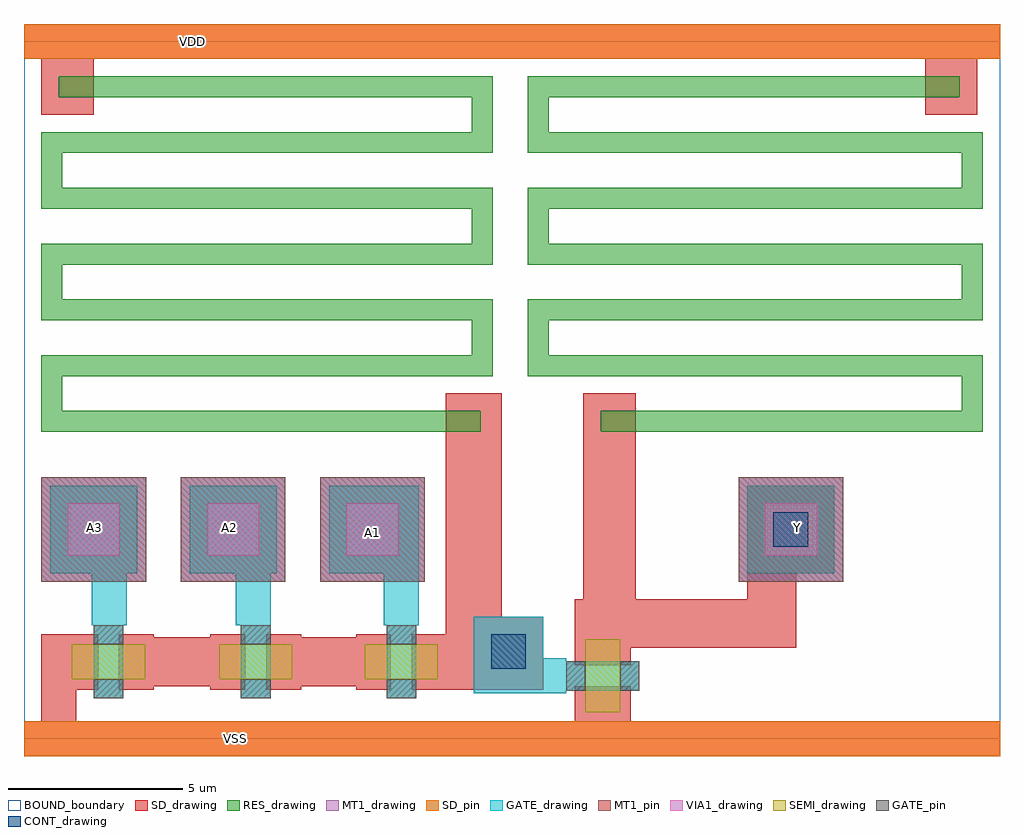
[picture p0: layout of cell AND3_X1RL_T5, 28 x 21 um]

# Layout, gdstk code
from math import pi, radians
import gdstk
lib = gdstk.Library(unit=1e-6, precision=1e-09)
def R(c, l, rs):  # rectangles x0, y0, x1, y1
    for r in rs: c.add(gdstk.rectangle(r[:2], r[2:], *l))
def A(c, l, x, y, w, h, nx, ny, dx, dy):  # array of equal rectangles
    R(c, l, [(x+i*dx, y+j*dy, x+i*dx+w, y+j*dy+h) for i in range(nx) for j in range(ny)])
def P(c, l, *ps):  # polygons
    for p in ps: c.add(gdstk.Polygon(p, *l))
RES_drawing = (1, 0)
SEMI_drawing = (3, 0)
SD_drawing = (10, 0)
SD_pin = (10, 3)
GATE_drawing = (11, 0)
GATE_pin = (11, 3)
MT1_drawing = (20, 0)
MT1_pin = (20, 3)
CONT_drawing = (30, 0)
VIA1_drawing = (41, 0)
BOUND_boundary = (150, 5)

nch_cdns_772544974730 = lib.new_cell('nch_CDNS_772544974730')
R(nch_cdns_772544974730, SEMI_drawing, [(-1.05,-0.5,1.05,0.5)])
R(nch_cdns_772544974730, SD_drawing, [(-1.3,-0.8,-0.3,0.8), (0.3,-0.8,1.3,0.8)])
R(nch_cdns_772544974730, GATE_drawing, [(-0.425,-1.05,0.425,1.05)])
R(nch_cdns_772544974730, GATE_pin, [(-0.425,-1.05,0.425,-0.5), (-0.425,0.5,0.425,1.05)])

gate_mt1_cdns_7725449747 = lib.new_cell('GATE_MT1_CDNS_772544974730')
R(gate_mt1_cdns_7725449747, GATE_drawing, [(-1.25,-1.25,1.25,1.25)])
R(gate_mt1_cdns_7725449747, MT1_drawing, [(-1.25,-1.25,1.25,1.25)])
R(gate_mt1_cdns_7725449747, VIA1_drawing, [(-0.75,-0.75,0.75,0.75)])

sd_gate_cdns_77254497473 = lib.new_cell('SD_GATE_CDNS_772544974731')
R(sd_gate_cdns_77254497473, SD_drawing, [(-1,-1,1,1)])
R(sd_gate_cdns_77254497473, GATE_drawing, [(-1,-1,1,1)])
R(sd_gate_cdns_77254497473, CONT_drawing, [(-0.5,-0.5,0.5,0.5)])

c_sd_gate_cdns_77254497473 = lib.new_cell('SD_GATE_CDNS_772544974732')
R(c_sd_gate_cdns_77254497473, SD_drawing, [(-1.25,-1.25,1.25,1.25)])
R(c_sd_gate_cdns_77254497473, GATE_drawing, [(-1.25,-1.25,1.25,1.25)])
R(c_sd_gate_cdns_77254497473, CONT_drawing, [(-0.5,-0.5,0.5,0.5)])

and3_x1rl_t5 = lib.new_cell('AND3_X1RL_T5')
R(and3_x1rl_t5, SD_drawing, [(0,-0.5,28,0.5), (0.5,0.5,1.5,3), (12.1,8.3,13.7,9.9), (16.05,8.3,17.55,9.9), (0.5,17.9,2,19.5), (25.85,17.9,27.35,19.5), (0,19.5,28,20.5)])
R(and3_x1rl_t5, SD_pin, [(0,-0.5,28,0.5), (0,19.5,28,20.5)])
R(and3_x1rl_t5, GATE_drawing, [(6.075,3.25,7.075,3.35)])
P(and3_x1rl_t5, GATE_drawing, [(15.45,2.3),(15.45,1.3),(15.55,1.3),(15.55,1.425),(15.6,1.425),(15.6,2.175),(15.55,2.175),(15.55,2.3)],
  [(11.325,3.35),(10.325,3.35),(10.325,3.25),(10.45,3.25),(10.45,3.2),(11.2,3.2),(11.2,3.25),(11.325,3.25)],
  [(2.95,3.35),(1.95,3.35),(1.95,3.25),(2.05,3.25),(2.05,3.2),(2.8,3.2),(2.8,3.25),(2.95,3.25)])
A(and3_x1rl_t5, MT1_drawing, 0.5, 4.5, 3, 3, 3, 1, 4, 0)
R(and3_x1rl_t5, MT1_drawing, [(20.5,4.5,23.5,7.5)])
A(and3_x1rl_t5, MT1_pin, 0.5, 4.5, 3, 3, 3, 1, 4, 0)
R(and3_x1rl_t5, MT1_pin, [(20.5,4.5,23.5,7.5)])
R(and3_x1rl_t5, BOUND_boundary, [(0,0,28,20)])
and3_x1rl_t5.add(gdstk.FlexPath([(10.825,3.35),(10.825,7.25)], 1, ends="flush", simple_path=True, layer=11, datatype=0))  # GATE_drawing
and3_x1rl_t5.add(gdstk.FlexPath([(15.45,1.8),(12.9,1.8)], 1, ends="flush", simple_path=True, layer=11, datatype=0))  # GATE_drawing
and3_x1rl_t5.add(gdstk.FlexPath([(6.575,3.35),(6.575,5.325)], 1, ends="flush", simple_path=True, layer=11, datatype=0))  # GATE_drawing
and3_x1rl_t5.add(gdstk.FlexPath([(2.45,3.35),(2.45,5.325)], 1, ends="flush", simple_path=True, layer=11, datatype=0))  # GATE_drawing
and3_x1rl_t5.add(gdstk.FlexPath([(16.5,3.1),(16.5,3.3)], 1.4, ends=(0, 0.7), simple_path=True, layer=10, datatype=0))  # SD_drawing
and3_x1rl_t5.add(gdstk.FlexPath([(21.45,3.3),(21.45,4.05)], 1.4, ends="extended", simple_path=True, layer=10, datatype=0))  # SD_drawing
and3_x1rl_t5.add(gdstk.FlexPath([(16.5,3.3),(21.45,3.3)], 1.4, ends="extended", simple_path=True, layer=10, datatype=0))  # SD_drawing
and3_x1rl_t5.add(gdstk.FlexPath([(16.8,3.35),(16.8,7.55)], 1.5, ends="extended", simple_path=True, layer=10, datatype=0))  # SD_drawing
and3_x1rl_t5.add(gdstk.FlexPath([(12.125,2.2),(14.9,2.2)], 1.6, ends="flush", simple_path=True, layer=10, datatype=0))  # SD_drawing
and3_x1rl_t5.add(gdstk.FlexPath([(3.725,2.2),(5.35,2.2)], 1.4, ends="flush", simple_path=True, layer=10, datatype=0))  # SD_drawing
and3_x1rl_t5.add(gdstk.FlexPath([(7.95,2.2),(9.525,2.2)], 1.4, ends="flush", simple_path=True, layer=10, datatype=0))  # SD_drawing
and3_x1rl_t5.add(gdstk.FlexPath([(12.9,3),(12.9,7.5)], 1.6, ends=(0, 0.8), simple_path=True, layer=10, datatype=0))  # SD_drawing
and3_x1rl_t5.add(gdstk.FlexPath([(25.85,18.7),(14.75,18.7),(14.75,17.1),(27.2,17.1),(27.2,15.5),(14.75,15.5),(14.75,13.9),(27.2,13.9),(27.2,12.3),(14.75,12.3),(14.75,10.7),(27.2,10.7),(27.2,9.1),(16.55,9.1)], 0.6, ends=(1, 0), simple_path=True, layer=1, datatype=0))  # RES_drawing
and3_x1rl_t5.add(gdstk.FlexPath([(13.1,9.1),(0.8,9.1),(0.8,10.7),(13.15,10.7),(13.15,12.3),(0.8,12.3),(0.8,13.9),(13.15,13.9),(13.15,15.5),(0.8,15.5),(0.8,17.1),(13.15,17.1),(13.15,18.7),(1,18.7)], 0.6, ends="flush", simple_path=True, layer=1, datatype=0))  # RES_drawing
and3_x1rl_t5.add(gdstk.Reference(nch_cdns_772544974730, (2.425,2.2)))
and3_x1rl_t5.add(gdstk.Reference(nch_cdns_772544974730, (16.6,1.8), rotation=pi/2))
and3_x1rl_t5.add(gdstk.Reference(nch_cdns_772544974730, (10.825,2.2)))
and3_x1rl_t5.add(gdstk.Reference(nch_cdns_772544974730, (6.65,2.2)))
and3_x1rl_t5.add(gdstk.Reference(gate_mt1_cdns_7725449747, (2,6)))
and3_x1rl_t5.add(gdstk.Reference(gate_mt1_cdns_7725449747, (22,6)))
and3_x1rl_t5.add(gdstk.Reference(gate_mt1_cdns_7725449747, (10,6)))
and3_x1rl_t5.add(gdstk.Reference(gate_mt1_cdns_7725449747, (6,6)))
and3_x1rl_t5.add(gdstk.Reference(sd_gate_cdns_77254497473, (13.9,2.5)))
and3_x1rl_t5.add(gdstk.Reference(c_sd_gate_cdns_77254497473, (22,6)))
and3_x1rl_t5.add(gdstk.Label('VDD', (4.825,20), layer=10, texttype=3))
and3_x1rl_t5.add(gdstk.Label('VSS', (6.075,0), layer=10, texttype=3))
and3_x1rl_t5.add(gdstk.Label('Y', (22.2,6.05), layer=20, texttype=3))
and3_x1rl_t5.add(gdstk.Label('A2', (5.9,6.05), layer=20, texttype=3))
and3_x1rl_t5.add(gdstk.Label('A1', (10,5.9), layer=20, texttype=3))
and3_x1rl_t5.add(gdstk.Label('A3', (2.025,6.05), layer=20, texttype=3))

lib.write_gds('AND3_X1RL_T5.gds')
